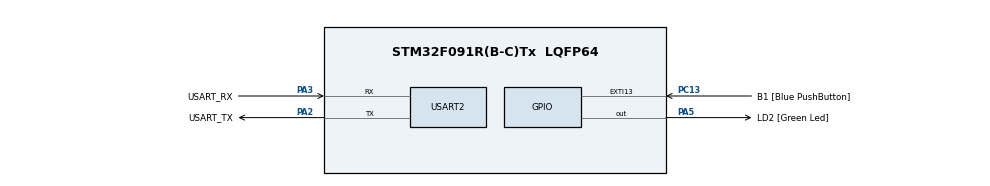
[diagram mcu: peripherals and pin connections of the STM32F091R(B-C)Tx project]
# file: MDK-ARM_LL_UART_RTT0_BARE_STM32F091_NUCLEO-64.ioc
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Mcu.Family=STM32F0
Mcu.Name=STM32F091R(B-C)Tx
Mcu.Package=LQFP64
NVIC.USART2_IRQn=true\:0\:0\:false\:false\:true\:true\:true
PA13.GPIO_Label=TMS
PA13.Mode=Serial_Wire
PA13.Signal=SYS_SWDIO
PA14.GPIO_Label=TCK
PA14.Mode=Serial_Wire
PA14.Signal=SYS_SWCLK
PA2.GPIO_Label=USART_TX
PA2.GPIO_Mode=GPIO_MODE_AF_PP
PA2.GPIO_PuPd=GPIO_NOPULL
PA2.GPIO_Speed=GPIO_SPEED_FREQ_LOW
PA2.Mode=Asynchronous
PA2.Signal=USART2_TX
PA3.GPIO_Label=USART_RX
PA3.GPIO_Mode=GPIO_MODE_AF_PP
PA3.GPIO_PuPd=GPIO_NOPULL
PA3.GPIO_Speed=GPIO_SPEED_FREQ_LOW
PA3.Mode=Asynchronous
PA3.Signal=USART2_RX
PA5.GPIO_Label=LD2 [Green Led]
PA5.GPIO_Mode=GPIO_MODE_OUTPUT_PP
PA5.GPIO_PuPd=GPIO_NOPULL
PA5.GPIO_Speed=GPIO_SPEED_FREQ_LOW
PA5.Signal=GPIO_Output
PC13.GPIO_Label=B1 [Blue PushButton]
PC13.GPIO_ModeDefaultEXTI=GPIO_MODE_IT_FALLING
PC13.Signal=GPXTI13
PC14OSC32_IN.Mode=LSE-External-Oscillator
PC14OSC32_IN.Signal=RCC_OSC32_IN
PC15OSC32_OUT.Mode=LSE-External-Oscillator
PC15OSC32_OUT.Signal=RCC_OSC32_OUT
PF0-OSC_IN.Mode=HSE-External-Clock-Source
PF0-OSC_IN.Signal=RCC_OSC_IN
PF1-OSC_OUT.Signal=RCC_OSC_OUT
ProjectManager.HeapSize=0x200
ProjectManager.StackSize=0x400
ProjectManager.TargetToolchain=MDK-ARM V5.27
RCC.AHBFreq_Value=48000000
RCC.APB1Freq_Value=48000000
RCC.APB1TimFreq_Value=48000000
RCC.FLatency-AdvancedSettings=FLASH_LATENCY_1
RCC.HCLKFreq_Value=48000000
RCC.PLLDivider=RCC_PREDIV_DIV2
RCC.PLLMUL=RCC_PLL_MUL12
RCC.PREFETCH_ENABLE-AdvancedSettings=1
RCC.SYSCLKFreq_VALUE=48000000
RCC.SYSCLKSource=RCC_SYSCLKSOURCE_PLLCLK
USART2.VirtualMode=VM_ASYNC
USART2.VirtualMode-Asynchronous=VM_ASYNC
board=NUCLEO-F091RC

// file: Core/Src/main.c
/* USER CODE BEGIN Header */
/**
  ******************************************************************************
  * @file           : main.c
  * @brief          : Main program body
  ******************************************************************************
  * @attention
  *
  * <h2><center>&copy; Copyright (c) 2020 STMicroelectronics.
  * All rights reserved.</center></h2>
  *
  * This software component is licensed by ST under BSD 3-Clause license,
  * the "License"; You may not use this file except in compliance with the
  * License. You may obtain a copy of the License at:
  *                        opensource.org/licenses/BSD-3-Clause
  *
  ******************************************************************************
  */
/* USER CODE END Header */
#include "main.h"

/* USER CODE BEGIN Includes */
#include "trice.h"
/* USER CODE END Includes */

/* USER CODE BEGIN PV */
int milliSecond = 0;
/* USER CODE END PV */

void SystemClock_Config(void);
static void MX_GPIO_Init(void);
static void MX_USART2_UART_Init(void);

int main(void)
{

  /* MCU Configuration--------------------------------------------------------*/

  /* Reset of all peripherals, Initializes the Flash interface and the Systick. */

  LL_APB1_GRP2_EnableClock(LL_APB1_GRP2_PERIPH_SYSCFG);
  LL_APB1_GRP1_EnableClock(LL_APB1_GRP1_PERIPH_PWR);

  /* System interrupt init*/

  /* Configure the system clock */
  SystemClock_Config();

  /* USER CODE BEGIN SysInit */
    SysTick->CTRL |= SysTick_CTRL_TICKINT_Msk; // enable SysTick interrupt
  /* USER CODE END SysInit */

  /* Initialize all configured peripherals */
  MX_GPIO_Init();
  MX_USART2_UART_Init();
  /* USER CODE BEGIN 2 */
    LL_USART_EnableIT_RXNE(TRICE_UART); // enable UART2 interrupt
    TRICE0( Id(37519), "s:                                                   \ns:   MDK-ARM_LL_UART_RTT0_BARE_STM32F091_NUCLEO-64   \ns:                                                   \n\n");
  /* USER CODE END 2 */

  /* Infinite loop */
  /* USER CODE BEGIN WHILE */
  while (1)
  {
    static int lastTricesTime = 0;
    { // send some trices every few ms
        if( milliSecond >= lastTricesTime + 100 ){
            static int index = 0;
            triceCheckSet(index%10);
            index++;
            lastTricesTime = milliSecond;
        }
    }
    /* USER CODE END WHILE */

    /* USER CODE BEGIN 3 */
        { // serve every few ms
            static int lastMs = 0;
            if( milliSecond >= lastMs + 1 ){
                lastMs = milliSecond;
                triceServeFifoSyncedToBytesBuffer();
            }
        }
  }
  /* USER CODE END 3 */
}

void SystemClock_Config(void)
{
  LL_FLASH_SetLatency(LL_FLASH_LATENCY_1);
  while(LL_FLASH_GetLatency() != LL_FLASH_LATENCY_1)
  {
  }
  LL_RCC_HSI_Enable();

   /* Wait till HSI is ready */
  while(LL_RCC_HSI_IsReady() != 1)
  {

  }
  LL_RCC_HSI_SetCalibTrimming(16);
  LL_RCC_PLL_ConfigDomain_SYS(LL_RCC_PLLSOURCE_HSI, LL_RCC_PLL_MUL_12, LL_RCC_PREDIV_DIV_2);
  LL_RCC_PLL_Enable();

   /* Wait till PLL is ready */
  while(LL_RCC_PLL_IsReady() != 1)
  {

  }
  LL_RCC_SetAHBPrescaler(LL_RCC_SYSCLK_DIV_1);
  LL_RCC_SetAPB1Prescaler(LL_RCC_APB1_DIV_1);
  LL_RCC_SetSysClkSource(LL_RCC_SYS_CLKSOURCE_PLL);

   /* Wait till System clock is ready */
  while(LL_RCC_GetSysClkSource() != LL_RCC_SYS_CLKSOURCE_STATUS_PLL)
  {

  }
  LL_Init1msTick(48000000);
  LL_SetSystemCoreClock(48000000);
  LL_RCC_SetUSARTClockSource(LL_RCC_USART2_CLKSOURCE_PCLK1);
}

static void MX_USART2_UART_Init(void)
{

  LL_USART_InitTypeDef USART_InitStruct = {0};

  LL_GPIO_InitTypeDef GPIO_InitStruct = {0};

  /* Peripheral clock enable */
  LL_APB1_GRP1_EnableClock(LL_APB1_GRP1_PERIPH_USART2);

  LL_AHB1_GRP1_EnableClock(LL_AHB1_GRP1_PERIPH_GPIOA);
  /**USART2 GPIO Configuration
  PA2   ------> USART2_TX
  PA3   ------> USART2_RX
  */
  GPIO_InitStruct.Pin = USART_TX_Pin;
  GPIO_InitStruct.Mode = LL_GPIO_MODE_ALTERNATE;
  GPIO_InitStruct.Speed = LL_GPIO_SPEED_FREQ_LOW;
  GPIO_InitStruct.OutputType = LL_GPIO_OUTPUT_PUSHPULL;
  GPIO_InitStruct.Pull = LL_GPIO_PULL_NO;
  GPIO_InitStruct.Alternate = LL_GPIO_AF_1;
  LL_GPIO_Init(USART_TX_GPIO_Port, &GPIO_InitStruct);

  GPIO_InitStruct.Pin = USART_RX_Pin;
  GPIO_InitStruct.Mode = LL_GPIO_MODE_ALTERNATE;
  GPIO_InitStruct.Speed = LL_GPIO_SPEED_FREQ_LOW;
  GPIO_InitStruct.OutputType = LL_GPIO_OUTPUT_PUSHPULL;
  GPIO_InitStruct.Pull = LL_GPIO_PULL_NO;
  GPIO_InitStruct.Alternate = LL_GPIO_AF_1;
  LL_GPIO_Init(USART_RX_GPIO_Port, &GPIO_InitStruct);

  /* USART2 interrupt Init */
  NVIC_SetPriority(USART2_IRQn, 0);
  NVIC_EnableIRQ(USART2_IRQn);

  USART_InitStruct.BaudRate = 115200;
  USART_InitStruct.DataWidth = LL_USART_DATAWIDTH_8B;
  USART_InitStruct.StopBits = LL_USART_STOPBITS_1;
  USART_InitStruct.Parity = LL_USART_PARITY_NONE;
  USART_InitStruct.TransferDirection = LL_USART_DIRECTION_TX_RX;
  USART_InitStruct.HardwareFlowControl = LL_USART_HWCONTROL_NONE;
  USART_InitStruct.OverSampling = LL_USART_OVERSAMPLING_16;
  LL_USART_Init(USART2, &USART_InitStruct);
  LL_USART_DisableIT_CTS(USART2);
  LL_USART_ConfigAsyncMode(USART2);
  LL_USART_Enable(USART2);

}

static void MX_GPIO_Init(void)
{
  LL_EXTI_InitTypeDef EXTI_InitStruct = {0};
  LL_GPIO_InitTypeDef GPIO_InitStruct = {0};

  /* GPIO Ports Clock Enable */
  LL_AHB1_GRP1_EnableClock(LL_AHB1_GRP1_PERIPH_GPIOC);
  LL_AHB1_GRP1_EnableClock(LL_AHB1_GRP1_PERIPH_GPIOF);
  LL_AHB1_GRP1_EnableClock(LL_AHB1_GRP1_PERIPH_GPIOA);

  /**/
  LL_GPIO_ResetOutputPin(LD2_GPIO_Port, LD2_Pin);

  /**/
  LL_SYSCFG_SetEXTISource(LL_SYSCFG_EXTI_PORTC, LL_SYSCFG_EXTI_LINE13);

  /**/
  LL_GPIO_SetPinPull(B1_GPIO_Port, B1_Pin, LL_GPIO_PULL_NO);

  /**/
  LL_GPIO_SetPinMode(B1_GPIO_Port, B1_Pin, LL_GPIO_MODE_INPUT);

  /**/
  EXTI_InitStruct.Line_0_31 = LL_EXTI_LINE_13;
  EXTI_InitStruct.LineCommand = ENABLE;
  EXTI_InitStruct.Mode = LL_EXTI_MODE_IT;
  EXTI_InitStruct.Trigger = LL_EXTI_TRIGGER_FALLING;
  LL_EXTI_Init(&EXTI_InitStruct);

  /**/
  GPIO_InitStruct.Pin = LD2_Pin;
  GPIO_InitStruct.Mode = LL_GPIO_MODE_OUTPUT;
  GPIO_InitStruct.Speed = LL_GPIO_SPEED_FREQ_LOW;
  GPIO_InitStruct.OutputType = LL_GPIO_OUTPUT_PUSHPULL;
  GPIO_InitStruct.Pull = LL_GPIO_PULL_NO;
  LL_GPIO_Init(LD2_GPIO_Port, &GPIO_InitStruct);

}

void Error_Handler(void)
{
  __disable_irq();
  while (1)
  {
  }
}

/************************ (C) COPYRIGHT STMicroelectronics *****END OF FILE****/
